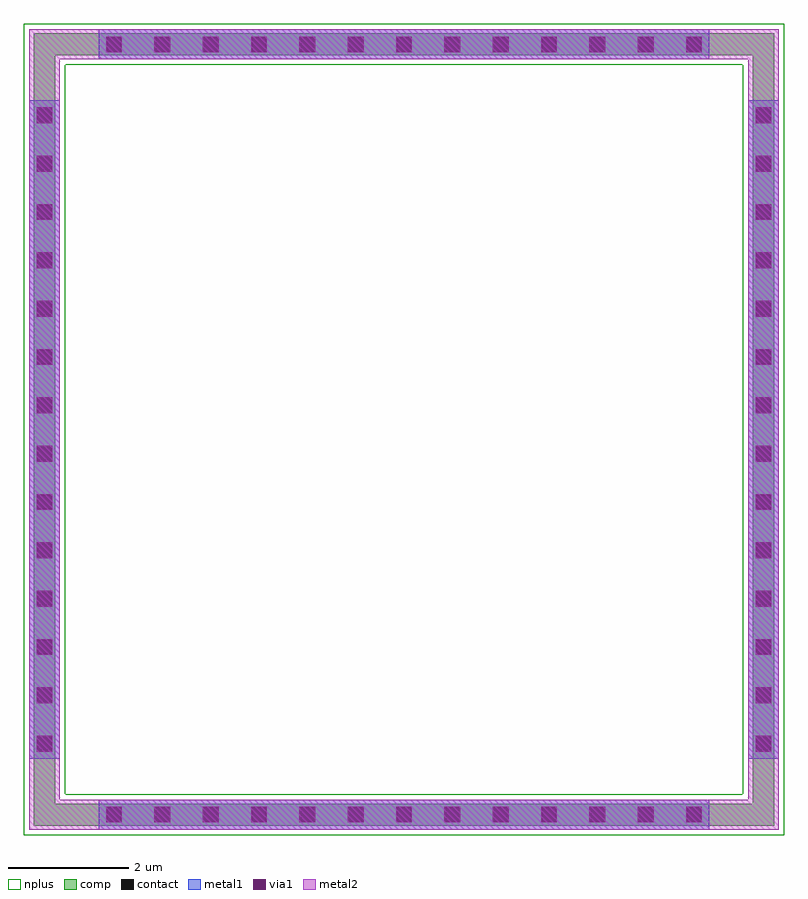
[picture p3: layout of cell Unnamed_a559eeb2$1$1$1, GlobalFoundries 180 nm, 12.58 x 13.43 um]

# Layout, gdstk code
import gdstk
lib = gdstk.Library(unit=1e-6, precision=5e-09)
def R(c, l, rs):  # rectangles x0, y0, x1, y1
    for r in rs: c.add(gdstk.rectangle(r[:2], r[2:], *l))
def A(c, l, x, y, w, h, nx, ny, dx, dy):  # array of equal rectangles
    R(c, l, [(x+i*dx, y+j*dy, x+i*dx+w, y+j*dy+h) for i in range(nx) for j in range(ny)])
def P(c, l, *ps):  # polygons
    for p in ps: c.add(gdstk.Polygon(p, *l))
comp = (22, 0)
nplus = (32, 0)
contact = (33, 0)
metal1 = (34, 0)
via1 = (35, 0)
metal2 = (36, 0)

unnamed_a559eeb2_1_1_1 = lib.new_cell('Unnamed_a559eeb2$1$1$1')
A(unnamed_a559eeb2_1_1_1, comp, -4.98, -6.555, 0.36, 0.36, 13, 2, 0.8, 12.75)
A(unnamed_a559eeb2_1_1_1, comp, -6.13, -5.38, 0.36, 0.36, 1, 14, 0, 0.8)
A(unnamed_a559eeb2_1_1_1, comp, 5.77, -5.38, 0.36, 0.36, 1, 14, 0, 0.8)
R(unnamed_a559eeb2_1_1_1, comp, [(-4.98,-6.555,4.98,-6.195), (-6.13,-5.38,-5.77,5.38), (5.77,-5.38,6.13,5.38), (-4.98,6.195,4.98,6.555)])
P(unnamed_a559eeb2_1_1_1, comp, [(-6.13,-6.555),(-6.13,-6.195),(-5.77,-6.195),(5.77,-6.195),(5.77,6.195),(-5.77,6.195),(-5.77,-6.195),(-6.13,-6.195),(-6.13,6.555),(6.13,6.555),(6.13,-6.555)])
P(unnamed_a559eeb2_1_1_1, nplus, [(-6.29,-6.715),(-6.29,-6.035),(-5.61,-6.035),(5.61,-6.035),(5.61,6.035),(-5.61,6.035),(-5.61,-6.035),(-6.29,-6.035),(-6.29,6.715),(6.29,6.715),(6.29,-6.715)])
A(unnamed_a559eeb2_1_1_1, contact, -4.91, -6.485, 0.22, 0.22, 13, 2, 0.8, 12.75)
A(unnamed_a559eeb2_1_1_1, contact, -6.06, -5.31, 0.22, 0.22, 1, 14, 0, 0.8)
A(unnamed_a559eeb2_1_1_1, contact, 5.84, -5.31, 0.22, 0.22, 1, 14, 0, 0.8)
A(unnamed_a559eeb2_1_1_1, metal1, -5.05, -6.625, 0.5, 0.5, 13, 2, 0.8, 12.75)
A(unnamed_a559eeb2_1_1_1, metal1, -6.2, -5.45, 0.5, 0.5, 1, 14, 0, 0.8)
A(unnamed_a559eeb2_1_1_1, metal1, 5.7, -5.45, 0.5, 0.5, 1, 14, 0, 0.8)
R(unnamed_a559eeb2_1_1_1, metal1, [(-5.05,-6.625,5.05,-6.125), (-6.2,-5.45,-5.7,5.45), (5.7,-5.45,6.2,5.45), (-5.05,6.125,5.05,6.625)])
A(unnamed_a559eeb2_1_1_1, via1, -4.93, -6.505, 0.26, 0.26, 13, 2, 0.8, 12.75)
A(unnamed_a559eeb2_1_1_1, via1, -6.08, -5.33, 0.26, 0.26, 1, 14, 0, 0.8)
A(unnamed_a559eeb2_1_1_1, via1, 5.82, -5.33, 0.26, 0.26, 1, 14, 0, 0.8)
A(unnamed_a559eeb2_1_1_1, metal2, -5.05, -6.625, 0.5, 0.5, 13, 2, 0.8, 12.75)
A(unnamed_a559eeb2_1_1_1, metal2, -6.2, -5.45, 0.5, 0.5, 1, 14, 0, 0.8)
A(unnamed_a559eeb2_1_1_1, metal2, 5.7, -5.45, 0.5, 0.5, 1, 14, 0, 0.8)
R(unnamed_a559eeb2_1_1_1, metal2, [(-6.2,-6.625,-5.77,-6.125), (-6.2,-6.625,-5.7,-6.195), (-5.77,-6.625,5.77,-6.125), (5.7,-6.625,6.2,-6.195), (5.77,-6.625,6.2,-6.125), (-6.2,-6.195,-5.7,6.195), (5.7,-6.195,6.2,6.195), (-6.2,6.125,-5.77,6.625), (-5.77,6.125,5.77,6.625), (5.77,6.125,6.2,6.625), (-6.2,6.195,-5.7,6.625), (5.7,6.195,6.2,6.625)])

lib.write_gds('Unnamed_a559eeb2_1_1_1.gds')
